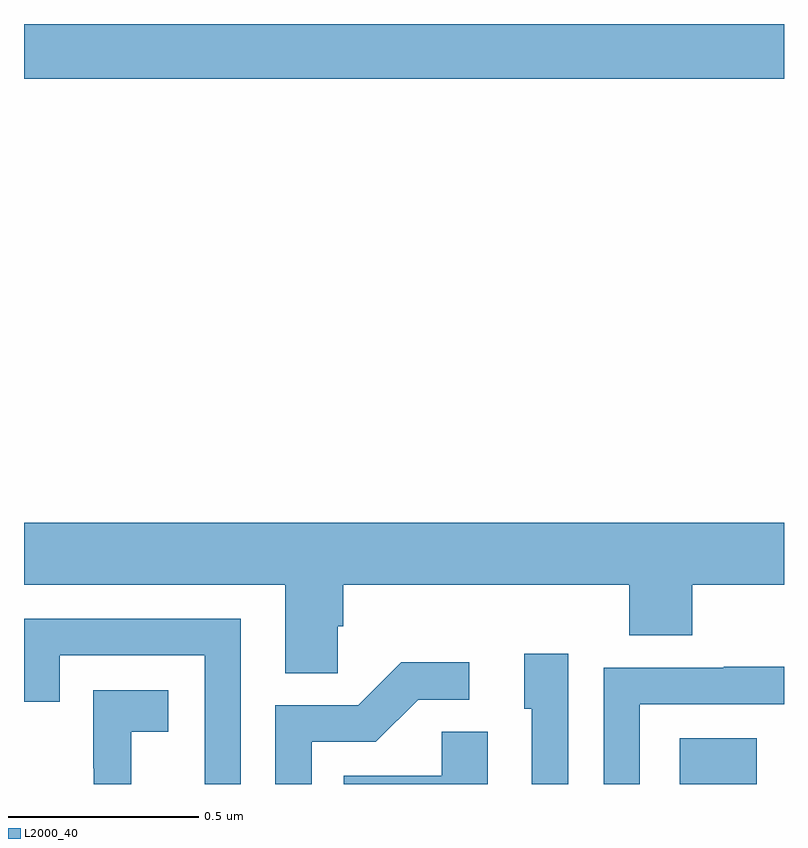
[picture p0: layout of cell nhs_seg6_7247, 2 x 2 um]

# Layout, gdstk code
import gdstk
lib = gdstk.Library(unit=1e-6, precision=1e-09)
def R(c, l, rs):  # rectangles x0, y0, x1, y1
    for r in rs: c.add(gdstk.rectangle(r[:2], r[2:], *l))
def P(c, l, *ps):  # polygons
    for p in ps: c.add(gdstk.Polygon(p, *l))
L2000_40 = (2000, 40)

nhs_seg6_7247 = lib.new_cell('nhs_seg6_7247')
R(nhs_seg6_7247, L2000_40, [(207.725,925.5,207.928,925.621), (206,927.356,208,927.5)])
P(nhs_seg6_7247, L2000_40, [(206.826,925.915),(206.84,925.915),(206.84,926.024),(207.593,926.024),(207.593,925.891),(207.758,925.891),(207.758,926.024),(208,926.024),(208,926.188),(206,926.188),(206,926.024),(206.687,926.024),(206.687,925.792),(206.826,925.792)],
  [(206.571,925.935),(206,925.935),(206,925.716),(206.094,925.716),(206.094,925.839),(206.475,925.839),(206.475,925.5),(206.571,925.5)],
  [(207.432,925.843),(207.317,925.843),(207.317,925.698),(207.336,925.698),(207.336,925.5),(207.432,925.5)],
  [(206.757,925.611),(206.926,925.611),(207.037,925.722),(207.172,925.722),(207.172,925.82),(206.993,925.82),(206.88,925.707),(206.661,925.707),(206.661,925.5),(206.757,925.5)],
  [(207.621,925.71),(208,925.71),(208,925.808),(207.841,925.808),(207.841,925.806),(207.525,925.806),(207.525,925.5),(207.621,925.5)],
  [(206.282,925.637),(206.38,925.637),(206.38,925.747),(206.182,925.747),(206.182,925.541),(206.183,925.541),(206.183,925.5),(206.282,925.5)],
  [(207.22,925.637),(207.099,925.637),(207.099,925.522),(206.842,925.522),(206.842,925.5),(207.22,925.5)])

lib.write_gds('nhs_seg6_7247.gds')
